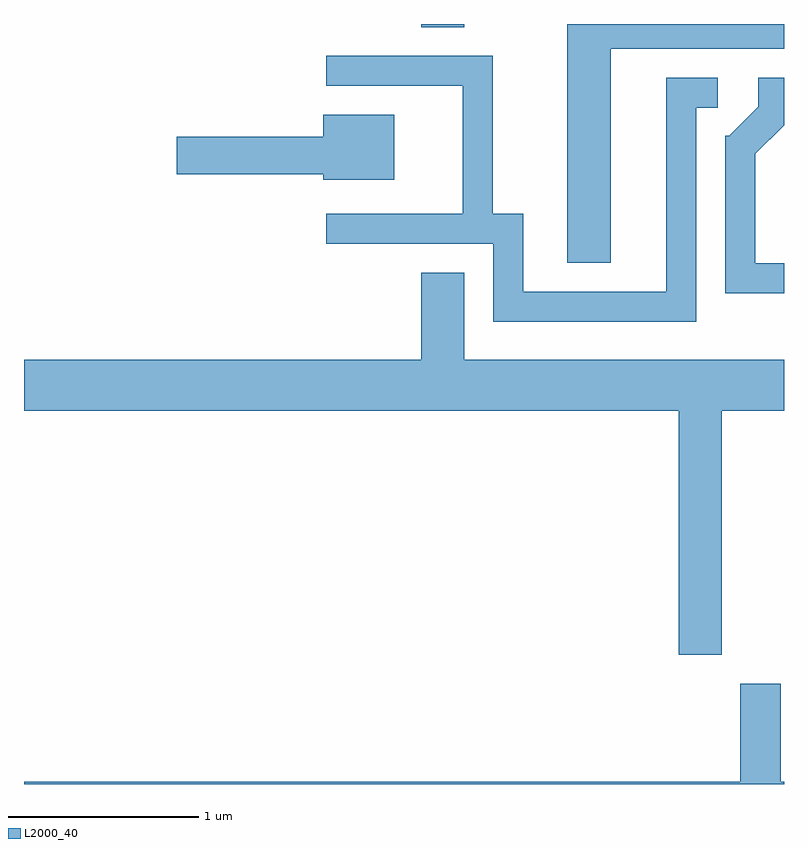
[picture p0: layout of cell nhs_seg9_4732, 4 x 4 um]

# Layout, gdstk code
import gdstk
lib = gdstk.Library(unit=1e-6, precision=1e-09)
def R(c, l, rs):  # rectangles x0, y0, x1, y1
    for r in rs: c.add(gdstk.rectangle(r[:2], r[2:], *l))
def P(c, l, *ps):  # polygons
    for p in ps: c.add(gdstk.Polygon(p, *l))
L2000_40 = (2000, 40)

nhs_seg9_4732 = lib.new_cell('nhs_seg9_4732')
R(nhs_seg9_4732, L2000_40, [(325.701,2080.416,325.929,2080.432)])
P(nhs_seg9_4732, L2000_40, [(326.699,2080.301),(327.611,2080.301),(327.611,2080.432),(326.471,2080.432),(326.471,2079.176),(326.699,2079.176)],
  [(327.149,2079.991),(327.263,2079.991),(327.263,2080.149),(326.991,2080.149),(326.991,2079.024),(326.239,2079.024),(326.239,2079.434),(326.079,2079.434),(326.079,2080.264),(325.203,2080.264),(325.203,2080.106),(325.921,2080.106),(325.921,2079.434),(325.203,2079.434),(325.203,2079.276),(326.081,2079.276),(326.081,2078.866),(327.149,2078.866)],
  [(327.611,2079.174),(327.459,2079.174),(327.459,2079.749),(327.611,2079.9),(327.611,2080.149),(327.476,2080.149),(327.476,2079.997),(327.324,2079.844),(327.301,2079.844),(327.301,2079.016),(327.611,2079.016)],
  [(325.559,2079.954),(325.186,2079.954),(325.186,2079.839),(324.416,2079.839),(324.416,2079.641),(325.186,2079.641),(325.186,2079.611),(325.559,2079.611)],
  [(327.284,2078.396),(327.611,2078.396),(327.611,2078.664),(325.929,2078.664),(325.929,2079.124),(325.701,2079.124),(325.701,2078.664),(323.611,2078.664),(323.611,2078.396),(327.056,2078.396),(327.056,2077.111),(327.284,2077.111)],
  [(327.611,2076.444),(327.594,2076.444),(327.594,2076.959),(327.381,2076.959),(327.381,2076.444),(323.611,2076.444),(323.611,2076.432),(327.611,2076.432)])

lib.write_gds('nhs_seg9_4732.gds')
